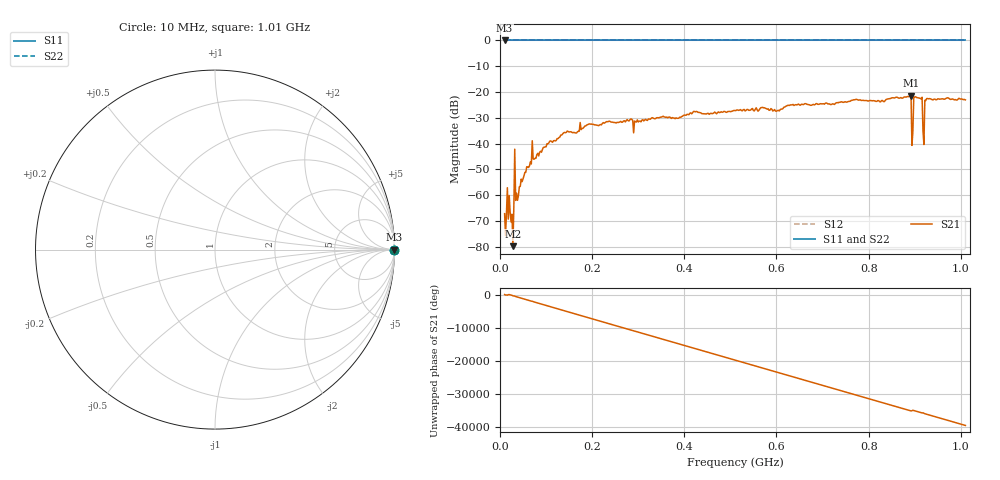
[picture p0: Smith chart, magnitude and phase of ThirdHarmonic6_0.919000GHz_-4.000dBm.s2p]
! 8/16/2025 6:01:22 AM
! C:\ANRITSUVNA\TEMP\TEMP.S2P
! CHANNEL.1
! TR.MEASUREMENT
! RAW.DATA
! RF.CORRECTION.OFF
! AVERAGING.OFF
! IF.BANDWIDTH: 5KHZ
! SWEEPTYPE:  FREQ.SWEEP(Linear)
! Reference Plane Port Info
! PORT:  PORT1  PORT2
! DISTANCE:  0  m  0  m
! TIME:  0  s  0  s
! PHASE.OFFSET:  0  deg.  0  deg.
! LOSS:  0  dB  0  dB
! REF.LOSS:  0  dB  0  dB
! REF.FREQ:  0  Hz  0  Hz
! Power Info
! POWER:  -20  dBm  -20  dBm
! EFF.POWER:  -20  dBm  -20  dBm
! SOURCE.ATTEN:  0  dB  0  dB
! TEST.ATTEN:  0  dB  0  dB
# GHZ S RI R 50.0
! FREQ.GHZ  S11RE  S11IM  S21RE  S21IM  S12RE  S12IM  S22RE  S22IM
!; PortSelection: Port_12
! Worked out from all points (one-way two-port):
!   501 points, 10 MHz to 1.01 GHz, reference 50 ohm
!   highest |S21| = -21.37 dB at 892 MHz (marker M1); lowest = -79.8 dB at 28 MHz (marker M2)
!   lowest |S11| = 0.0 dB at 10 MHz (marker M3)
!   |S11| at or under -10 dB: nowhere
!   |S22| runs from 0.0 to 0.0 dB; largest |S21 - S12| = 1.1
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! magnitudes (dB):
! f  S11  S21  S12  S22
! 10 MHz  0.0  -67.2  0.0  0.0
! 18 MHz  0.0  -69.3  0.0  0.0
! 26 MHz  0.0  -67.4  0.0  0.0
! 28 MHz  0.0  -79.8  0.0  0.0
! 36 MHz  0.0  -59.2  0.0  0.0
! 38 MHz  0.0  -62.0  0.0  0.0
! 70 MHz  0.0  -38.9  0.0  0.0
! 136 MHz  0.0  -36.3  0.0  0.0
! 178 MHz  0.0  -34.2  0.0  0.0
! 344 MHz  0.0  -30.0  0.0  0.0
! 510 MHz  0.0  -27.2  0.0  0.0
! 678 MHz  0.0  -24.9  0.0  0.0
! 844 MHz  0.0  -22.7  0.0  0.0
! 888 MHz  0.0  -21.8  0.0  0.0
! 892 MHz  0.0  -21.4  0.0  0.0
! 898 MHz  0.0  -21.9  0.0  0.0
! 902 MHz  0.0  -21.8  0.0  0.0
! 912 MHz  0.0  -22.4  0.0  0.0
! 916 MHz  0.0  -22.0  0.0  0.0
! 922 MHz  0.0  -23.2  0.0  0.0
! 926 MHz  0.0  -22.5  0.0  0.0
! 1.01 GHz  0.0  -23.0  0.0  0.0
